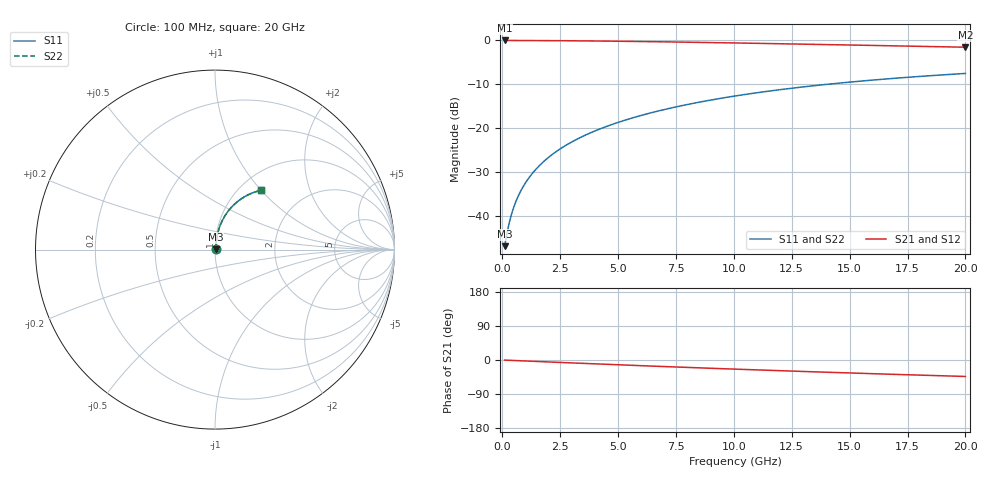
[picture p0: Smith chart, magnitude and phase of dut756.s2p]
! Touchstone file exported from HFSS 2024.1.0
!  File:  C:/UserFiles/LocalFiles/RDL_TSV_Batchsim/temp_RDL_bottom_756_1779859995.aedt
!  Generated:  01:35:53 PM May 27, 2026
!  Design:  RDL_bottom
!  Project:  temp_RDL_bottom_756_1779859995
!  Setup:  Setup1
!  Solution:  Sweep
! Variables:
!  dtsv = 10.80580581um
!  hbump = 3um
!  htsv = 70.52um
!  ldown = 610um
!  lrdl = 100um
!  p = 40
!  p1 = 45.89um
!  rhole = 1um
!  t = 450um
!  tdown = 3.44um
!  trdl = 3.915915916um
!  wdown = 17.23um
!  wrdl = 20um
# GHz S MA R 50.000000
! Terminal data exported
! Port[1] = RDL1_T1
! Port[2] = RDL1_T2
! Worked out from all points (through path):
!   200 points, 100 MHz to 20 GHz, reference 50 ohm
!   highest |S21| = -0.03 dB at 100 MHz (marker M1); lowest = -1.6 dB at 20 GHz (marker M2)
!   group delay of S21, straight-line fit = 6.02 ps
!   lowest |S11| = -46.9 dB at 100 MHz (marker M3), VSWR 1.01, Z = 50.4 + j0.25 ohm
!   |S11| at or under -10 dB: start of sweep to 14.06 GHz
!   |S22| runs from -46.9 to -7.5 dB; largest |S21 - S12| = 2.6e-15
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0.1  0.004532 33.2  0.9962 -0.3  0.9962 -0.3  0.004532 33.2
! Gamma 0 0 0 0
! Port Impedance 50 0 50 0
0.2  0.006289 51.5  0.9961 -0.5  0.9961 -0.5  0.006289 51.5
0.3  0.008357 60.8  0.9959 -0.8  0.9959 -0.8  0.008357 60.8
0.4  0.01051 66.2  0.9957 -1.1  0.9957 -1.1  0.01051 66.2
0.5  0.0127 69.7  0.9955 -1.3  0.9955 -1.3  0.0127 69.7
0.6  0.0149 72.2  0.9954 -1.6  0.9954 -1.6  0.0149 72.2
0.8  0.01933 75.5  0.995 -2.1  0.995 -2.1  0.01933 75.5
1.1  0.02606 78.3  0.9944 -2.9  0.9944 -2.9  0.02606 78.3
1.3  0.03058 79.4  0.994 -3.4  0.994 -3.4  0.03058 79.4
1.6  0.03741 80.4  0.9932 -4.1  0.9932 -4.1  0.03741 80.4
2.1  0.04886 81.2  0.9917 -5.4  0.9917 -5.4  0.04886 81.2
2.7  0.0627 81.4  0.9893 -6.9  0.9893 -6.9  0.06269 81.4
3.5  0.08125 81.0  0.9854 -8.9  0.9854 -8.9  0.08125 81.0
4.2  0.09756 80.3  0.9814 -10.7  0.9814 -10.7  0.09756 80.3
5  0.1163 79.3  0.9761 -12.6  0.9761 -12.6  0.1162 79.3
5.9  0.1373 78.0  0.9695 -14.8  0.9695 -14.8  0.1373 78.0
6.8  0.1583 76.5  0.9624 -16.9  0.9624 -16.9  0.1582 76.5
8.4  0.1952 73.7  0.9485 -20.5  0.9485 -20.5  0.1951 73.7
10.1  0.2334 70.5  0.9328 -24.2  0.9328 -24.2  0.2333 70.5
13.4  0.3031 64.1  0.9004 -31.1  0.9004 -31.1  0.303 64.1
16.7  0.3654 57.9  0.8672 -37.5  0.8672 -37.5  0.3653 57.9
20  0.4195 52.1  0.8344 -43.4  0.8344 -43.4  0.4194 52.0
